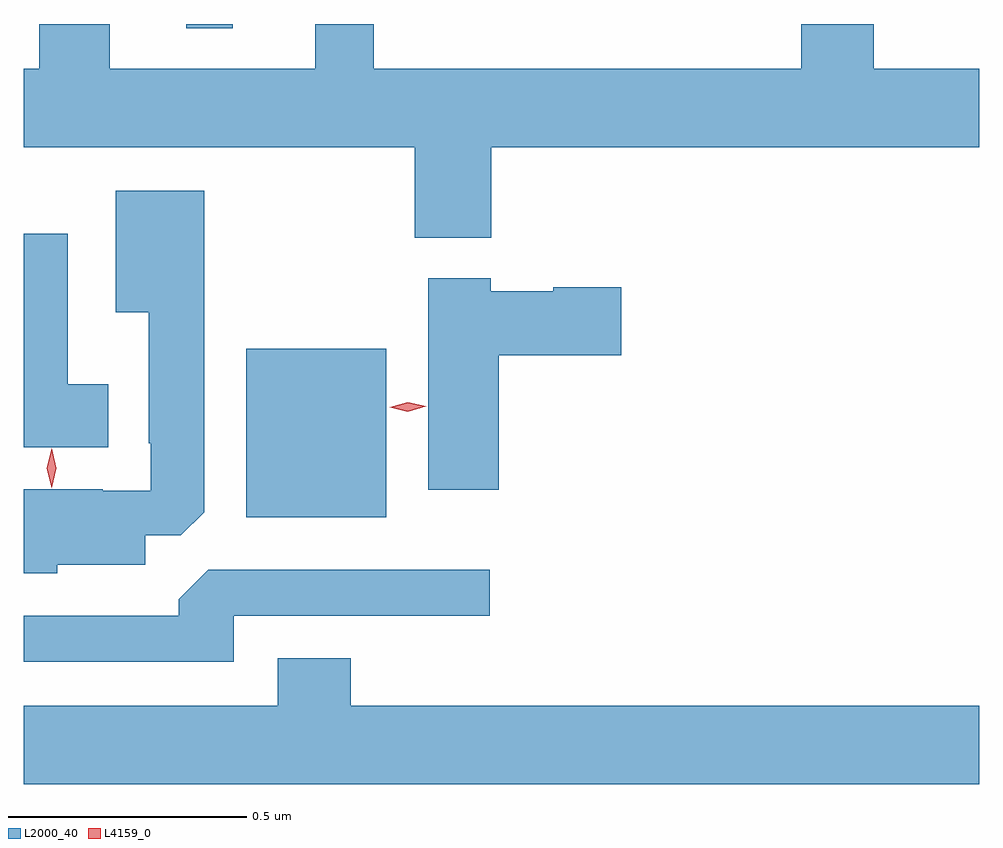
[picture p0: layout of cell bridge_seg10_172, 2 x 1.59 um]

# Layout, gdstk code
import gdstk
lib = gdstk.Library(unit=1e-6, precision=1e-09)
def R(c, l, rs):  # rectangles x0, y0, x1, y1
    for r in rs: c.add(gdstk.rectangle(r[:2], r[2:], *l))
def P(c, l, *ps):  # polygons
    for p in ps: c.add(gdstk.Polygon(p, *l))
L2000_40 = (2000, 40)
L4159_0 = (4159, 0)

bridge_seg10_172 = lib.new_cell('bridge_seg10_172')
R(bridge_seg10_172, L2000_40, [(227.795,1283.558,228.088,1283.911), (227.669,1284.581,227.767,1284.59)])
P(bridge_seg10_172, L2000_40, [(228.062,1284.59),(227.939,1284.59),(227.939,1284.496),(227.509,1284.496),(227.509,1284.59),(227.362,1284.59),(227.362,1284.496),(227.329,1284.496),(227.329,1284.332),(228.148,1284.332),(228.148,1284.143),(228.308,1284.143),(228.308,1284.332),(229.329,1284.332),(229.329,1284.496),(229.108,1284.496),(229.108,1284.59),(228.956,1284.59),(228.956,1284.496),(228.062,1284.496)],
  [(227.4,1283.459),(227.584,1283.459),(227.584,1283.52),(227.658,1283.52),(227.707,1283.569),(227.707,1284.241),(227.522,1284.241),(227.522,1283.987),(227.591,1283.987),(227.591,1283.713),(227.595,1283.713),(227.595,1283.613),(227.495,1283.613),(227.495,1283.617),(227.329,1283.617),(227.329,1283.441),(227.4,1283.441)],
  [(227.506,1283.836),(227.422,1283.836),(227.422,1284.151),(227.329,1284.151),(227.329,1283.705),(227.506,1283.705)],
  [(228.323,1283.897),(228.58,1283.897),(228.58,1284.039),(228.437,1284.039),(228.437,1284.031),(228.306,1284.031),(228.306,1284.058),(228.176,1284.058),(228.176,1283.616),(228.323,1283.616)],
  [(227.769,1283.352),(228.304,1283.352),(228.304,1283.448),(227.715,1283.448),(227.654,1283.386),(227.654,1283.352),(227.329,1283.352),(227.329,1283.256),(227.769,1283.256)],
  [(229.329,1283.164),(228.014,1283.164),(228.014,1283.263),(227.861,1283.263),(227.861,1283.164),(227.329,1283.164),(227.329,1283),(229.329,1283)])
P(bridge_seg10_172, L4159_0, [(228.133,1283.779),(228.095,1283.788),(228.094,1283.788),(228.095,1283.788),(228.133,1283.799),(228.172,1283.79),(228.172,1283.79),(228.172,1283.79)],
  [(227.388,1283.62),(227.388,1283.62),(227.378,1283.661),(227.388,1283.702),(227.388,1283.702),(227.388,1283.702),(227.398,1283.661),(227.388,1283.62)])

lib.write_gds('bridge_seg10_172.gds')
